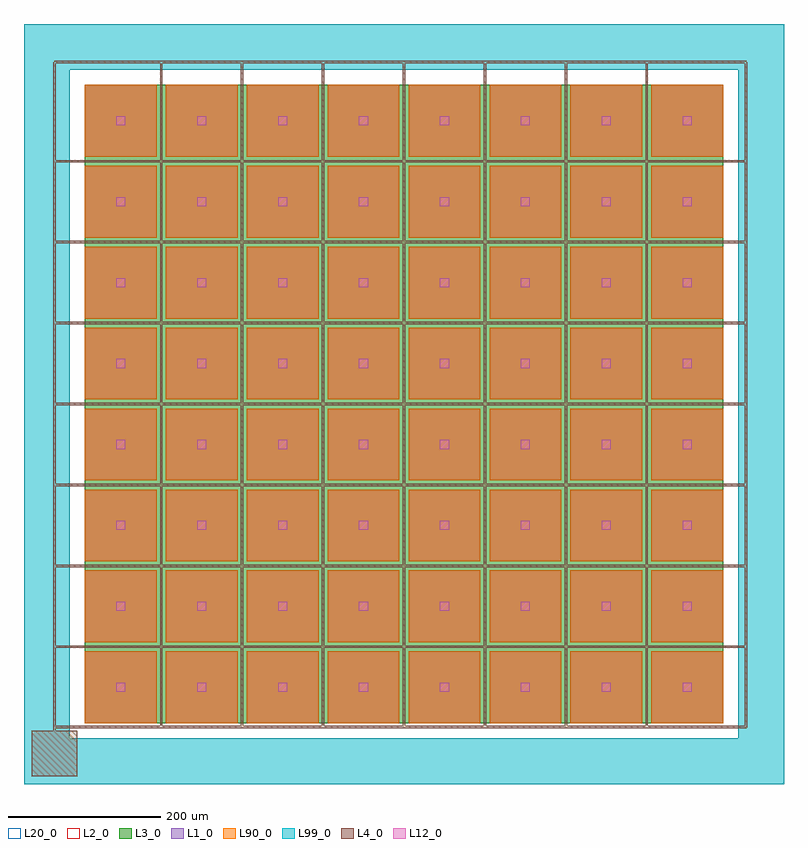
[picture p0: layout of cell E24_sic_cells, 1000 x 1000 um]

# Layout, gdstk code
import gdstk
lib = gdstk.Library(unit=1e-6, precision=1e-09)
def R(c, l, rs):  # rectangles x0, y0, x1, y1
    for r in rs: c.add(gdstk.rectangle(r[:2], r[2:], *l))
def A(c, l, x, y, w, h, nx, ny, dx, dy):  # array of equal rectangles
    R(c, l, [(x+i*dx, y+j*dy, x+i*dx+w, y+j*dy+h) for i in range(nx) for j in range(ny)])
L1_0 = (1, 0)
L2_0 = (2, 0)
L3_0 = (3, 0)
L4_0 = (4, 0)
L12_0 = (12, 0)
L20_0 = (20, 0)
L90_0 = (90, 0)
L99_0 = (99, 0)

active_macrocell = lib.new_cell('ACTIVE_MACROCELL')
R(active_macrocell, L1_0, [(0,0,94.5,94.5)])
R(active_macrocell, L90_0, [(0,0,94.5,94.5)])

e24_sic_cells = lib.new_cell('E24_sic_cells')
R(e24_sic_cells, L2_0, [(0,0,1000,1000)])
R(e24_sic_cells, L3_0, [(80,80,920,920)])
A(e24_sic_cells, L4_0, 179, 75, 3, 875, 7, 1, 106.5, 0)
A(e24_sic_cells, L4_0, 40, 179, 910, 3, 1, 7, 0, 106.5)
R(e24_sic_cells, L4_0, [(10,10,70,70), (38.5,40,41.5,950), (40,73.5,950,76.5), (948.5,75,951.5,950), (40,948.5,950,951.5)])
A(e24_sic_cells, L12_0, 121.25, 121.25, 12, 12, 8, 8, 106.5, 106.5)
R(e24_sic_cells, L20_0, [(0,0,1000,1000)])
R(e24_sic_cells, L99_0, [(0,0,1000,60), (0,60,60,940), (940,60,1000,940), (0,940,1000,1000)])
e24_sic_cells.add(gdstk.Reference(active_macrocell, (80,80)))
e24_sic_cells.add(gdstk.Reference(active_macrocell, (186.5,80)))
e24_sic_cells.add(gdstk.Reference(active_macrocell, (293,80)))
e24_sic_cells.add(gdstk.Reference(active_macrocell, (399.5,80)))
e24_sic_cells.add(gdstk.Reference(active_macrocell, (506,80)))
e24_sic_cells.add(gdstk.Reference(active_macrocell, (612.5,80)))
e24_sic_cells.add(gdstk.Reference(active_macrocell, (719,80)))
e24_sic_cells.add(gdstk.Reference(active_macrocell, (825.5,80)))
e24_sic_cells.add(gdstk.Reference(active_macrocell, (80,186.5)))
e24_sic_cells.add(gdstk.Reference(active_macrocell, (186.5,186.5)))
e24_sic_cells.add(gdstk.Reference(active_macrocell, (293,186.5)))
e24_sic_cells.add(gdstk.Reference(active_macrocell, (399.5,186.5)))
e24_sic_cells.add(gdstk.Reference(active_macrocell, (506,186.5)))
e24_sic_cells.add(gdstk.Reference(active_macrocell, (612.5,186.5)))
e24_sic_cells.add(gdstk.Reference(active_macrocell, (719,186.5)))
e24_sic_cells.add(gdstk.Reference(active_macrocell, (825.5,186.5)))
e24_sic_cells.add(gdstk.Reference(active_macrocell, (80,293)))
e24_sic_cells.add(gdstk.Reference(active_macrocell, (186.5,293)))
e24_sic_cells.add(gdstk.Reference(active_macrocell, (293,293)))
e24_sic_cells.add(gdstk.Reference(active_macrocell, (399.5,293)))
e24_sic_cells.add(gdstk.Reference(active_macrocell, (506,293)))
e24_sic_cells.add(gdstk.Reference(active_macrocell, (612.5,293)))
e24_sic_cells.add(gdstk.Reference(active_macrocell, (719,293)))
e24_sic_cells.add(gdstk.Reference(active_macrocell, (825.5,293)))
e24_sic_cells.add(gdstk.Reference(active_macrocell, (80,399.5)))
e24_sic_cells.add(gdstk.Reference(active_macrocell, (186.5,399.5)))
e24_sic_cells.add(gdstk.Reference(active_macrocell, (293,399.5)))
e24_sic_cells.add(gdstk.Reference(active_macrocell, (399.5,399.5)))
e24_sic_cells.add(gdstk.Reference(active_macrocell, (506,399.5)))
e24_sic_cells.add(gdstk.Reference(active_macrocell, (612.5,399.5)))
e24_sic_cells.add(gdstk.Reference(active_macrocell, (719,399.5)))
e24_sic_cells.add(gdstk.Reference(active_macrocell, (825.5,399.5)))
e24_sic_cells.add(gdstk.Reference(active_macrocell, (80,506)))
e24_sic_cells.add(gdstk.Reference(active_macrocell, (186.5,506)))
e24_sic_cells.add(gdstk.Reference(active_macrocell, (293,506)))
e24_sic_cells.add(gdstk.Reference(active_macrocell, (399.5,506)))
e24_sic_cells.add(gdstk.Reference(active_macrocell, (506,506)))
e24_sic_cells.add(gdstk.Reference(active_macrocell, (612.5,506)))
e24_sic_cells.add(gdstk.Reference(active_macrocell, (719,506)))
e24_sic_cells.add(gdstk.Reference(active_macrocell, (825.5,506)))
e24_sic_cells.add(gdstk.Reference(active_macrocell, (80,612.5)))
e24_sic_cells.add(gdstk.Reference(active_macrocell, (186.5,612.5)))
e24_sic_cells.add(gdstk.Reference(active_macrocell, (293,612.5)))
e24_sic_cells.add(gdstk.Reference(active_macrocell, (399.5,612.5)))
e24_sic_cells.add(gdstk.Reference(active_macrocell, (506,612.5)))
e24_sic_cells.add(gdstk.Reference(active_macrocell, (612.5,612.5)))
e24_sic_cells.add(gdstk.Reference(active_macrocell, (719,612.5)))
e24_sic_cells.add(gdstk.Reference(active_macrocell, (825.5,612.5)))
e24_sic_cells.add(gdstk.Reference(active_macrocell, (80,719)))
e24_sic_cells.add(gdstk.Reference(active_macrocell, (186.5,719)))
e24_sic_cells.add(gdstk.Reference(active_macrocell, (293,719)))
e24_sic_cells.add(gdstk.Reference(active_macrocell, (399.5,719)))
e24_sic_cells.add(gdstk.Reference(active_macrocell, (506,719)))
e24_sic_cells.add(gdstk.Reference(active_macrocell, (612.5,719)))
e24_sic_cells.add(gdstk.Reference(active_macrocell, (719,719)))
e24_sic_cells.add(gdstk.Reference(active_macrocell, (825.5,719)))
e24_sic_cells.add(gdstk.Reference(active_macrocell, (80,825.5)))
e24_sic_cells.add(gdstk.Reference(active_macrocell, (186.5,825.5)))
e24_sic_cells.add(gdstk.Reference(active_macrocell, (293,825.5)))
e24_sic_cells.add(gdstk.Reference(active_macrocell, (399.5,825.5)))
e24_sic_cells.add(gdstk.Reference(active_macrocell, (506,825.5)))
e24_sic_cells.add(gdstk.Reference(active_macrocell, (612.5,825.5)))
e24_sic_cells.add(gdstk.Reference(active_macrocell, (719,825.5)))
e24_sic_cells.add(gdstk.Reference(active_macrocell, (825.5,825.5)))

lib.write_gds('E24_sic_cells.gds')
